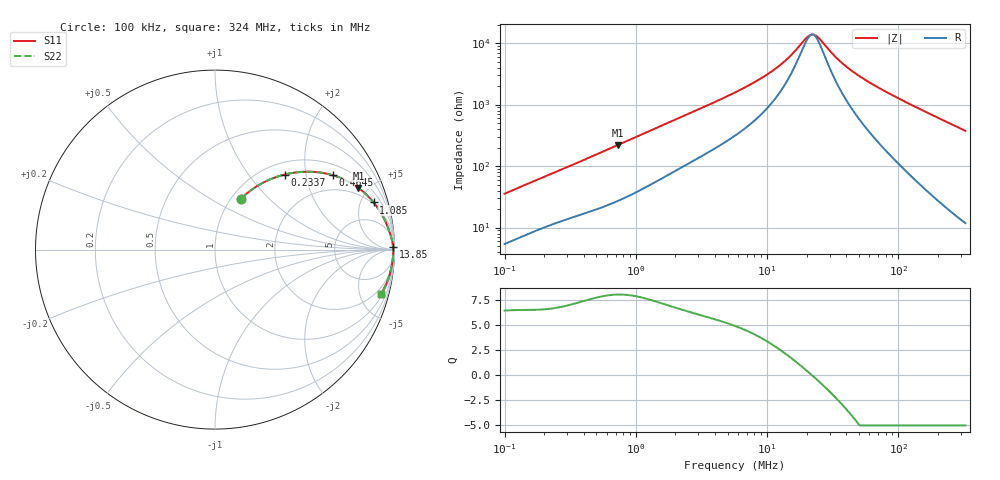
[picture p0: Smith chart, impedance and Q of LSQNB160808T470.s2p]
! LSQNB160808T470  S-PARAMETER MODEL  ( General Type )
! Model Generated by TAIYO YUDEN Corporation (http://www.ty-top.com)
! Version 2.0
! TAIYO YUDEN Control No. 100810NF25SB-FKC
! Copyright(c) 2007 TAIYO YUDEN CO.,LTD. All Rights Reserved.
! Product Description (link to TY-COMPAS)
! https://ds.yuden.co.jp/TYCOMPAS/or/detail?pn=LSQNB160808T470K&u=M
! Products Name : Inductors
! Characteristics :
!  Inductance : 47 uH , SRF(min) : 11 MHz , DC Resistance(max) : 3.25 Ohm
!  Rated Current : Saturation :50 mA , Temp Rise : 140 mA (40 degC)
!  Case Size : 1.6 x 0.8 / 0.063 x 0.031 [mm/inch] , Thickness : 0.8 / 0.031 [mm/inch]
!  (Conditions: Temperature = 25 degC , DC Bias Current/Voltage = 0A / 0V)
! External Node Assignments :
!  1  o---GGG---o  2
! GND o---------o GND
! Frequency Range : 0.1MHz  -  324.04089MHz  [ 402 STEP ]
# MHz S RI R 50
! Freq[MHz].  S11 Real  S11 Imag  S21 Real  S21 Imag  S12 Real  S12 Imag  S22 Real  S22 Imag
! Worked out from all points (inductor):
!   401 points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, 100 kHz to 324 MHz, reference 50 ohm
!   read as one part in series: L = 54.7 uH near 104.1 kHz
!   highest Q = 8.06 at 724.6 kHz (marker M1), where L = 47.7 uH
!   self-resonance near 21.6 MHz
!   S11 on the Smith chart (normalised r, x): 100 kHz: 1.11, +0.70; 233.7 kHz: 1.23, +1.52; 464.5 kHz: 1.37, +2.85; 1.085 MHz: 1.82, +6.36; 13.85 MHz: open; 324 MHz: 1.24, -7.47
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0.1  0.1458 0.284  0.8542 -0.284  0.8542 -0.284  0.1458 0.284
0.149806  0.2414 0.3581  0.7586 -0.3581  0.7586 -0.3581  0.2414 0.3581
0.233675  0.3874 0.4181  0.6126 -0.4181  0.6126 -0.4181  0.3874 0.4181
0.38728  0.5852 0.4294  0.4148 -0.4294  0.4148 -0.4294  0.5852 0.4294
0.46453  0.6555 0.4144  0.3445 -0.4144  0.3445 -0.4144  0.6555 0.4144
0.724598  0.7992 0.3433  0.2008 -0.3433  0.2008 -0.3433  0.7992 0.3433
1.085493  0.8837 0.2628  0.1163 -0.2628  0.1163 -0.2628  0.8837 0.2628
1.499861  0.9245 0.2042  0.0755 -0.2042  0.0755 -0.2042  0.9245 0.2042
2.806225  0.9652 0.1194  0.0348 -0.1194  0.0348 -0.1194  0.9652 0.1194
5.692459  0.9838 0.0606  0.0162 -0.0606  0.0162 -0.0606  0.9838 0.0606
9.626954  0.9897 0.0323  0.0103 -0.0323  0.0103 -0.0323  0.9897 0.0323
13.85051  0.9917 0.017  0.00832 -0.017  0.00832 -0.017  0.9917 0.017
15.95517  0.9922 0.0117  0.00784 -0.0117  0.00784 -0.0117  0.9922 0.0117
19.92704  0.9927 0.0036  0.00735 -0.0036  0.00735 -0.0036  0.9927 0.0036
22.04577  0.9928 -1.6e-05  0.00721 1.6e-05  0.00721 1.6e-05  0.9928 -1.6e-05
24.38978  0.9929 -0.00364  0.00712 0.00364  0.00712 0.00364  0.9929 -0.00364
33.02595  0.9929 -0.0149  0.00712 0.0149  0.00712 0.0149  0.9929 -0.0149
42.08946  0.9926 -0.0249  0.00743 0.0249  0.00743 0.0249  0.9926 -0.0249
56.99291  0.9917 -0.0395  0.00833 0.0395  0.00833 0.0395  0.9917 -0.0395
85.37896  0.989 -0.0649  0.011 0.0649  0.011 0.0649  0.989 -0.0649
169.7274  0.9745 -0.1338  0.0255 0.1338  0.0255 0.1338  0.9745 -0.1338
324.0409  0.9265 -0.2457  0.0735 0.2457  0.0735 0.2457  0.9265 -0.2457
